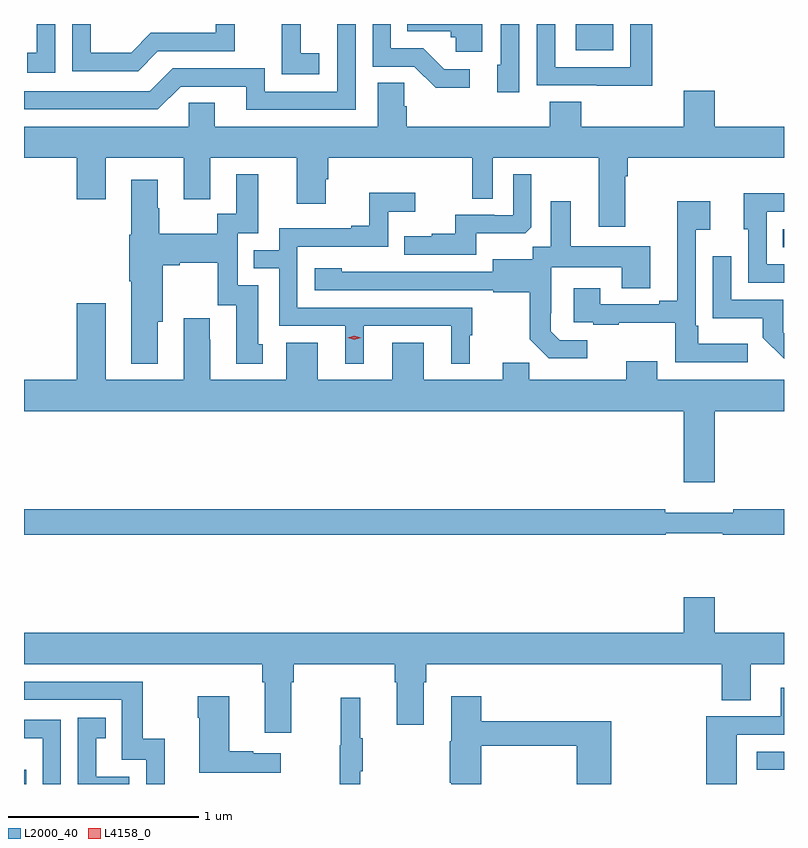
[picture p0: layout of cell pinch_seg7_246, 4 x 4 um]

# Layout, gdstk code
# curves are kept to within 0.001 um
import gdstk
lib = gdstk.Library(unit=1e-6, precision=1e-09)
def R(c, l, rs):  # rectangles x0, y0, x1, y1
    for r in rs: c.add(gdstk.rectangle(r[:2], r[2:], *l))
def P(c, l, *ps):  # polygons
    for p in ps: c.add(gdstk.Polygon(p, *l))
L2000_40 = (2000, 40)
L4158_0 = (4158, 0)

pinch_seg7_246 = lib.new_cell('pinch_seg7_246')
R(pinch_seg7_246, L2000_40, [(868.828,1010.641,868.841,1010.715), (872.685,1010.715,872.828,1010.811), (872.821,1013.466,872.828,1013.562), (871.733,1014.503,871.93,1014.641)])
P(pinch_seg7_246, L2000_40, [(868.992,1014.641),(868.895,1014.641),(868.895,1014.489),(868.846,1014.489),(868.846,1014.384),(868.992,1014.384)],
  [(869.533,1014.498),(869.937,1014.498),(869.937,1014.641),(869.838,1014.641),(869.838,1014.594),(869.496,1014.594),(869.392,1014.49),(869.178,1014.49),(869.178,1014.641),(869.082,1014.641),(869.082,1014.393),(869.428,1014.393)],
  [(871.174,1014.402),(871.039,1014.402),(870.928,1014.513),(870.759,1014.513),(870.759,1014.641),(870.663,1014.641),(870.663,1014.417),(870.882,1014.417),(870.995,1014.305),(871.174,1014.305)],
  [(870.573,1014.641),(870.477,1014.641),(870.477,1014.285),(870.096,1014.285),(870.096,1014.408),(869.61,1014.408),(869.49,1014.288),(868.828,1014.288),(868.828,1014.192),(869.532,1014.192),(869.652,1014.312),(869.999,1014.312),(869.999,1014.189),(870.573,1014.189)],
  [(871.434,1014.641),(871.338,1014.641),(871.338,1014.426),(871.319,1014.426),(871.319,1014.282),(871.434,1014.282)],
  [(872.135,1014.641),(872.019,1014.641),(872.019,1014.414),(871.623,1014.414),(871.623,1014.641),(871.527,1014.641),(871.527,1014.318),(871.843,1014.318),(871.843,1014.317),(872.135,1014.317)],
  [(870.382,1014.487),(870.284,1014.487),(870.284,1014.641),(870.185,1014.641),(870.185,1014.583),(870.184,1014.583),(870.184,1014.377),(870.382,1014.377)],
  [(871.24,1014.641),(870.844,1014.641),(870.844,1014.602),(871.075,1014.602),(871.075,1014.57),(871.101,1014.57),(871.101,1014.494),(871.24,1014.494)],
  [(871.993,1013.84),(872.006,1013.84),(872.006,1013.936),(872.828,1013.936),(872.828,1014.1),(872.464,1014.1),(872.464,1014.289),(872.3,1014.289),(872.3,1014.1),(871.76,1014.1),(871.76,1014.233),(871.595,1014.233),(871.595,1014.1),(870.842,1014.1),(870.842,1014.209),(870.828,1014.209),(870.828,1014.332),(870.689,1014.332),(870.689,1014.1),(869.833,1014.1),(869.833,1014.227),(869.694,1014.227),(869.694,1014.1),(868.828,1014.1),(868.828,1013.936),(869.105,1013.936),(869.105,1013.718),(869.257,1013.718),(869.257,1013.936),(869.669,1013.936),(869.669,1013.718),(869.809,1013.718),(869.809,1013.936),(870.263,1013.936),(870.263,1013.694),(870.415,1013.694),(870.415,1013.823),(870.428,1013.823),(870.428,1013.936),(871.188,1013.936),(871.188,1013.722),(871.296,1013.722),(871.296,1013.936),(871.853,1013.936),(871.853,1013.574),(871.993,1013.574)],
  [(871.207,1013.54),(871.465,1013.54),(871.497,1013.571),(871.497,1013.851),(871.404,1013.851),(871.404,1013.634),(871.304,1013.634),(871.304,1013.637),(871.097,1013.637),(871.097,1013.536),(870.973,1013.536),(870.973,1013.524),(870.829,1013.524),(870.829,1013.427),(871.207,1013.427)],
  [(869.533,1013.073),(869.559,1013.073),(869.559,1013.372),(869.647,1013.372),(869.647,1013.384),(869.849,1013.384),(869.849,1013.16),(869.945,1013.16),(869.945,1012.854),(870.085,1012.854),(870.085,1012.956),(870.061,1012.956),(870.061,1013.265),(869.952,1013.265),(869.952,1013.541),(870.061,1013.541),(870.061,1013.851),(869.945,1013.851),(869.945,1013.642),(869.844,1013.642),(869.844,1013.536),(869.541,1013.536),(869.541,1013.67),(869.533,1013.67),(869.533,1013.821),(869.393,1013.821),(869.393,1013.532),(869.381,1013.532),(869.381,1013.288),(869.393,1013.288),(869.393,1012.853),(869.533,1012.853)],
  [(870.616,1013.052),(871.076,1013.052),(871.076,1012.853),(871.174,1012.853),(871.174,1013.004),(871.186,1013.004),(871.186,1013.148),(870.267,1013.148),(870.267,1013.469),(870.744,1013.469),(870.744,1013.654),(870.886,1013.654),(870.886,1013.753),(870.646,1013.753),(870.646,1013.578),(870.551,1013.578),(870.551,1013.565),(870.171,1013.565),(870.171,1013.451),(870.037,1013.451),(870.037,1013.355),(870.171,1013.355),(870.171,1013.052),(870.518,1013.052),(870.518,1012.853),(870.616,1012.853)],
  [(872.828,1013.376),(872.736,1013.376),(872.736,1013.652),(872.828,1013.652),(872.828,1013.75),(872.615,1013.75),(872.615,1013.562),(872.64,1013.562),(872.64,1013.28),(872.828,1013.28)],
  [(872.638,1012.957),(872.377,1012.957),(872.377,1013.053),(872.364,1013.053),(872.364,1013.558),(872.44,1013.558),(872.44,1013.707),(872.267,1013.707),(872.267,1013.185),(872.171,1013.185),(872.171,1013.166),(871.861,1013.166),(871.861,1013.251),(871.721,1013.251),(871.721,1013.07),(871.825,1013.07),(871.825,1013.058),(871.957,1013.058),(871.957,1013.069),(872.256,1013.069),(872.256,1012.86),(872.638,1012.86)],
  [(871.792,1012.977),(871.647,1012.977),(871.6,1013.024),(871.6,1013.119),(871.602,1013.119),(871.602,1013.36),(871.973,1013.36),(871.973,1013.251),(872.125,1013.251),(872.125,1013.47),(871.705,1013.47),(871.705,1013.707),(871.601,1013.707),(871.601,1013.468),(871.506,1013.468),(871.506,1013.404),(871.295,1013.404),(871.295,1013.337),(870.501,1013.338),(870.501,1013.356),(870.357,1013.356),(870.357,1013.241),(871.299,1013.241),(871.299,1013.229),(871.491,1013.229),(871.491,1012.983),(871.591,1012.883),(871.792,1012.883)],
  [(872.828,1013.014),(872.823,1013.019),(872.823,1013.19),(872.55,1013.19),(872.55,1013.419),(872.454,1013.419),(872.454,1013.093),(872.716,1013.093),(872.716,1012.991),(872.828,1012.878)],
  [(872.464,1012.604),(872.828,1012.604),(872.828,1012.768),(872.161,1012.768),(872.161,1012.867),(871.997,1012.867),(871.997,1012.768),(871.487,1012.768),(871.487,1012.859),(871.349,1012.859),(871.349,1012.768),(870.931,1012.768),(870.931,1012.963),(870.767,1012.963),(870.767,1012.768),(870.373,1012.768),(870.373,1012.963),(870.209,1012.963),(870.209,1012.768),(869.809,1012.768),(869.809,1012.979),(869.806,1012.979),(869.806,1013.092),(869.669,1013.092),(869.669,1012.768),(869.257,1012.768),(869.257,1013.17),(869.105,1013.17),(869.105,1012.768),(868.828,1012.768),(868.828,1012.604),(872.3,1012.604),(872.3,1012.23),(872.464,1012.23)],
  [(872.206,1011.96),(872.506,1011.96),(872.506,1011.952),(872.828,1011.952),(872.828,1012.088),(872.56,1012.088),(872.56,1012.069),(872.204,1012.069),(872.204,1012.088),(868.828,1012.088),(868.828,1011.952),(872.206,1011.952)],
  [(870.235,1011.176),(870.248,1011.176),(870.248,1011.272),(870.779,1011.272),(870.779,1011.176),(870.791,1011.176),(870.791,1010.952),(870.931,1010.952),(870.931,1011.176),(870.944,1011.176),(870.944,1011.272),(872.501,1011.272),(872.501,1011.082),(872.653,1011.082),(872.653,1011.272),(872.828,1011.272),(872.828,1011.436),(872.464,1011.436),(872.464,1011.625),(872.3,1011.625),(872.3,1011.436),(868.828,1011.436),(868.828,1011.272),(870.083,1011.272),(870.083,1011.176),(870.095,1011.176),(870.095,1010.91),(870.235,1010.91)],
  [(869.57,1010.878),(869.452,1010.878),(869.452,1011.18),(868.828,1011.18),(868.828,1011.084),(869.343,1011.084),(869.343,1010.769),(869.472,1010.769),(869.472,1010.641),(869.57,1010.641)],
  [(872.578,1010.901),(872.828,1010.901),(872.828,1011.148),(872.81,1011.148),(872.81,1010.997),(872.42,1010.997),(872.42,1010.641),(872.578,1010.641)],
  [(871.235,1010.842),(871.736,1010.842),(871.736,1010.641),(871.919,1010.641),(871.919,1010.971),(871.235,1010.971),(871.235,1011.103),(871.076,1011.103),(871.076,1010.865),(871.069,1010.865),(871.069,1010.647),(871.076,1010.647),(871.076,1010.641),(871.235,1010.641)],
  [(870.178,1010.803),(870.035,1010.803),(870.035,1010.813),(869.908,1010.813),(869.908,1011.103),(869.743,1011.103),(869.743,1010.99),(869.75,1010.99),(869.75,1010.699),(870.178,1010.699)],
  [(870.599,1010.707),(870.61,1010.707),(870.61,1010.881),(870.599,1010.881),(870.599,1011.094),(870.496,1011.094),(870.496,1010.844),(870.489,1010.844),(870.489,1010.641),(870.599,1010.641)],
  [(869.382,1010.679),(869.209,1010.679),(869.209,1010.883),(869.258,1010.883),(869.258,1010.989),(869.112,1010.989),(869.112,1010.641),(869.382,1010.641)],
  [(869.022,1010.979),(868.828,1010.979),(868.828,1010.882),(868.926,1010.882),(868.926,1010.641),(869.022,1010.641)])
P(pinch_seg7_246, L4158_0, [(870.567,1012.98),(870.532,1012.99),(870.532,1012.99),(870.532,1012.991),(870.567,1013),(870.602,1012.991),(870.602,1012.99),(870.602,1012.99)])

lib.write_gds('pinch_seg7_246.gds')
